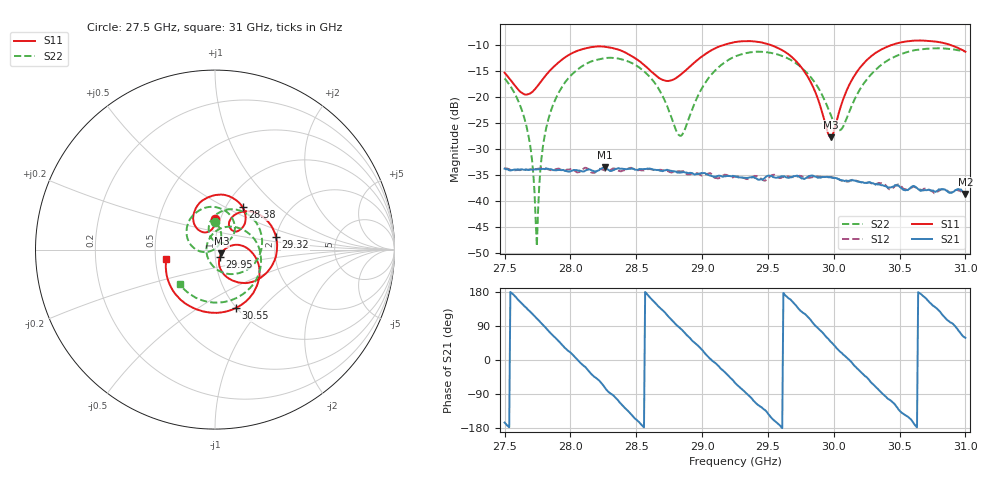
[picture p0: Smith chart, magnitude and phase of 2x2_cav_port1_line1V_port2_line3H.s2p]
!Created with skrf (http://scikit-rf.org).
# GHz S RI R 50.0
!freq ReS11 ImS11 ReS21 ImS21 ReS12 ImS12 ReS22 ImS22
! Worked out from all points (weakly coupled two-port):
!   401 points, 27.5 GHz to 31 GHz, reference 50 ohm
!   highest |S21| = -33.50 dB at 28.26 GHz (marker M1); lowest = -38.7 dB at 31 GHz (marker M2)
!   lowest |S11| = -27.7 dB at 29.98 GHz (marker M3), VSWR 1.09, Z = 53.6 - j2.26 ohm
!   |S11| at or under -10 dB: start of sweep to 29.16 GHz; 29.53 GHz to 30.43 GHz (903.6 MHz wide, 3.01 % of centre); 30.89504 GHz to end of sweep
!   |S22| runs from -48.7 to -10.6 dB; largest |S21 - S12| = 0.0016
!   S11 on the Smith chart (normalised r, x): 27.5 GHz: 0.94, +0.33; 28.38 GHz: 1.19, +0.61; 29.32 GHz: 1.99, +0.32; 29.95 GHz: 1.05, -0.08; 30.55 GHz: 1.00, -0.73; 31 GHz: 0.57, -0.06
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27.5  -0.00224 0.1722  -0.0198 -0.00521  -0.0197 -0.00576  0.00246 0.1516
27.66625  -0.0385 0.0988  -0.0147 0.0136  -0.0148 0.0135  0.0298 0.0431
27.745  -0.076 0.1001  -0.00673 0.019  -0.00684 0.0191  -0.00261 0.00255
27.78875  -0.0964 0.1132  -0.00123 0.0203  -0.000956 0.0207  -0.0303 -0.0101
27.85  -0.116 0.1428  0.00669 0.0191  0.00658 0.0186  -0.0716 -0.0127
28.08625  -0.0533 0.2843  0.019 -0.00364  0.0195 -0.00309  -0.1569 0.1211
28.26125  0.0833 0.2951  0.00625 -0.0202  0.00555 -0.0188  -0.0708 0.2273
28.38375  0.1538 0.2365  -0.00876 -0.0185  -0.00815 -0.0174  0.0248 0.2311
28.6725  0.1158 0.1002  -0.0151 0.0127  -0.0154 0.0125  0.0961 0.0702
28.83875  0.0778 0.1461  0.00253 0.0186  0.00289 0.019  0.0115 0.0408
29.03125  0.1575 0.2117  0.0177 0.00432  0.0173 0.00514  -0.0317 0.1382
29.25  0.3128 0.1337  0.00854 -0.0151  0.00905 -0.0145  0.1011 0.225
29.32  0.3394 0.0715  0.00223 -0.0165  0.00185 -0.0166  0.1615 0.2083
29.635  0.201 -0.1816  -0.0167 0.00304  -0.017 0.00243  0.2359 -0.055
29.83625  0.0393 -0.125  -0.0031 0.0173  -0.00332 0.0166  0.067 -0.1345
29.95  0.0269 -0.0389  0.00893 0.0145  0.00878 0.0145  -0.0218 -0.0792
29.97625  0.0352 -0.021  0.0112 0.0126  0.0112 0.0128  -0.0345 -0.0587
30.055  0.0805 0.0185  0.0149 0.00543  0.0148 0.00543  -0.0471 0.0122
30.20375  0.1956 -0.00507  0.013 -0.00782  0.0131 -0.00768  0.0314 0.1178
30.4225  0.2276 -0.2141  -0.00339 -0.0131  -0.00371 -0.0124  0.2265 0.0481
30.55375  0.118 -0.3243  -0.0108 -0.00684  -0.011 -0.00645  0.2534 -0.0976
31  -0.2703 -0.0502  0.00608 0.00991  0.00565 0.0102  -0.1976 -0.1925
